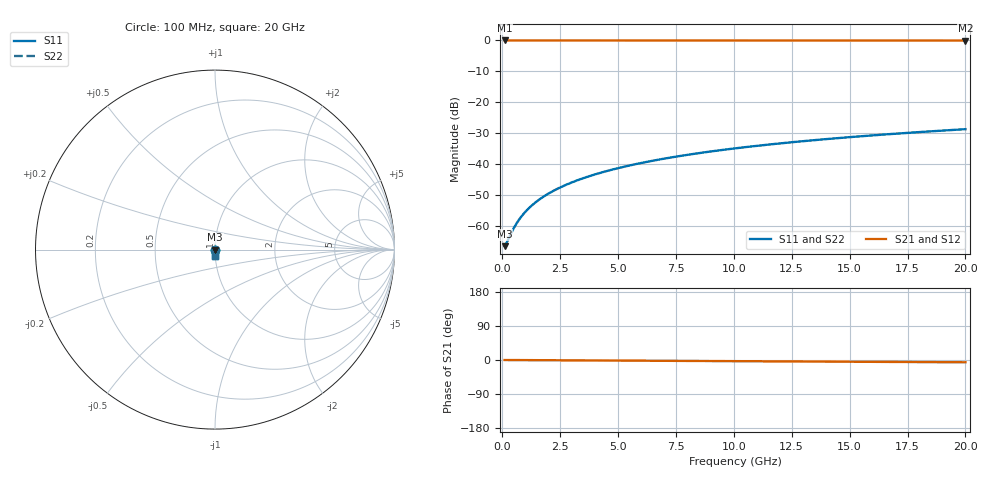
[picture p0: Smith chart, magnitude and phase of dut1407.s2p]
! Touchstone file exported from HFSS 2026.1.0
!  File:  C:/ffzhzh/LocalFiles/Ansys_Project_Files/temp_train_TSV_1407_1783196995_55132.aedt
!  Generated:  04:31:31 AM Jul  5, 2026
!  Design:  TSV
!  Project:  temp_train_TSV_1407_1783196995_55132
! Variables:
!  h_bsmrdl = 2um
!  h_ox = 20um
!  h_rdl = 5um
!  h_sub = 61.21um
!  h_tmrdl = 5um
!  h_tsv = 61.21um
!  h_via = 3um
!  l_bsmrdl = 300um
!  l_sub = 408.2um
!  l_tmrdl = 200um
!  m_sub = 200um
!  pitch = 11.98um
!  r_tsv = 4.1um
!  s_tmrdl = 10um
!  w_bsmrdl = 18um
!  w_sub = 500um
!  w_tmrdl = 12um
!  x_tsv_center1 = 206um
!  x_tsv_center2 = 524um
!  x_tsv_center3 = 736um
!  x_tsv_center4 = 1054um
!  x_tsv_center5 = 1266um
!  x_tsv_center6 = 1584um
# GHz S MA R 50.000000
! Terminal data exported
! Port[1] = TSV1_1_T1
! Port[2] = TSV1_1_T2
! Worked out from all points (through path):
!   200 points, 100 MHz to 20 GHz, reference 50 ohm
!   highest |S21| = 0.00 dB at 100 MHz (marker M1); lowest = 0.0 dB at 20 GHz (marker M2)
!   lowest |S11| = -66.5 dB at 100 MHz (marker M3), VSWR 1.00, Z = 50 - j0.0123 ohm
!   |S11| at or under -10 dB: start of sweep to end of sweep
!   |S22| runs from -66.5 to -28.7 dB; largest |S21 - S12| = 3.1e-15
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0.1  0.0004743 -15.0  0.9995 -0.0  0.9995 -0.0  0.0004743 -15.0
! Gamma 0 0 0 0
! Port Impedance 50 0 50 0
0.2  0.0005508 -28.2  0.9995 -0.1  0.9995 -0.1  0.0005508 -28.2
0.4  0.0007904 -46.9  0.9995 -0.1  0.9995 -0.1  0.0007904 -46.9
0.5  0.0009321 -53.1  0.9994 -0.2  0.9994 -0.2  0.0009321 -53.1
0.7  0.001235 -61.7  0.9994 -0.2  0.9994 -0.2  0.001235 -61.7
0.8  0.001391 -64.6  0.9994 -0.3  0.9994 -0.3  0.001391 -64.6
1  0.001711 -69.0  0.9994 -0.3  0.9994 -0.3  0.001711 -69.0
1.3  0.002199 -73.2  0.9993 -0.4  0.9993 -0.4  0.002199 -73.2
1.7  0.002862 -76.6  0.9993 -0.5  0.9993 -0.5  0.002862 -76.6
2.2  0.003705 -79.0  0.9992 -0.7  0.9992 -0.7  0.003705 -79.0
2.8  0.004733 -80.8  0.9992 -0.9  0.9992 -0.9  0.004733 -80.8
3.5  0.005955 -82.1  0.9991 -1.1  0.9991 -1.1  0.005955 -82.1
4.2  0.007199 -83.0  0.9989 -1.3  0.9989 -1.3  0.0072 -83.0
5  0.008644 -83.8  0.9988 -1.5  0.9988 -1.5  0.008644 -83.8
5.9  0.01029 -84.6  0.9987 -1.8  0.9987 -1.8  0.01029 -84.6
6.8  0.01196 -85.3  0.9985 -2.1  0.9985 -2.1  0.01196 -85.3
8.3  0.01476 -86.4  0.9983 -2.5  0.9983 -2.5  0.01476 -86.4
10.1  0.01814 -87.5  0.9981 -3.1  0.9981 -3.1  0.01814 -87.5
11.7  0.02116 -88.4  0.9979 -3.6  0.9979 -3.6  0.02116 -88.4
13.4  0.02437 -89.2  0.9977 -4.1  0.9977 -4.1  0.02437 -89.2
16.7  0.0306 -90.8  0.9972 -5.0  0.9972 -5.0  0.0306 -90.8
20  0.03685 -92.1  0.9968 -6.0  0.9968 -6.0  0.03685 -92.1
